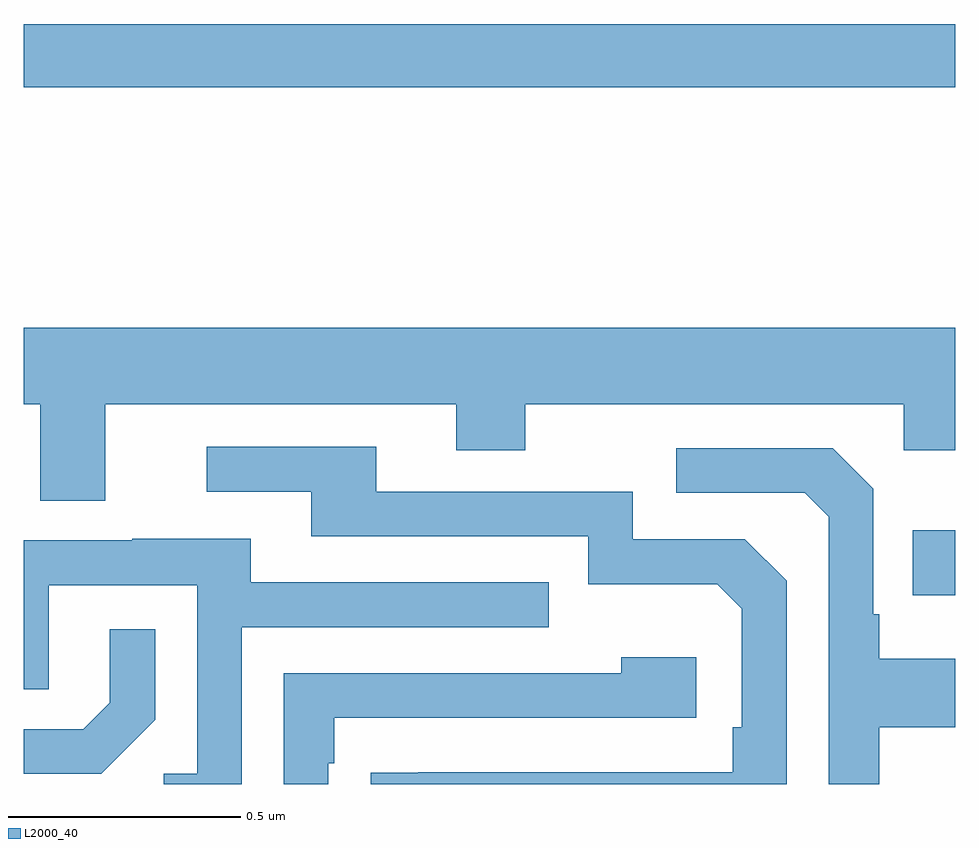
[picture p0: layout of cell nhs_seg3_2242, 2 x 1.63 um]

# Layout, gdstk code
import gdstk
lib = gdstk.Library(unit=1e-6, precision=1e-09)
def R(c, l, rs):  # rectangles x0, y0, x1, y1
    for r in rs: c.add(gdstk.rectangle(r[:2], r[2:], *l))
def P(c, l, *ps):  # polygons
    for p in ps: c.add(gdstk.Polygon(p, *l))
L2000_40 = (2000, 40)

nhs_seg3_2242 = lib.new_cell('nhs_seg3_2242')
R(nhs_seg3_2242, L2000_40, [(139.909,733.805,140,733.945), (138,734.896,140,735.032)])
P(nhs_seg3_2242, L2000_40, [(138.175,734.216),(138.929,734.216),(138.929,734.117),(139.077,734.117),(139.077,734.216),(139.89,734.216),(139.89,734.117),(140,734.117),(140,734.38),(138,734.38),(138,734.216),(138.035,734.216),(138.035,734.008),(138.175,734.008)],
  [(139.638,733.836),(139.548,733.926),(139.308,733.926),(139.308,734.028),(138.757,734.028),(138.757,734.124),(138.393,734.124),(138.393,734.028),(138.617,734.028),(138.617,733.932),(139.212,733.932),(139.212,733.829),(139.489,733.829),(139.542,733.776),(139.542,733.522),(139.522,733.522),(139.522,733.425),(138.847,733.425),(138.847,733.424),(138.745,733.424),(138.745,733.4),(139.638,733.4)],
  [(139.837,733.522),(140,733.522),(140,733.669),(139.837,733.669),(139.837,733.765),(139.824,733.765),(139.824,734.034),(139.737,734.121),(139.401,734.121),(139.401,734.025),(139.677,734.025),(139.728,733.974),(139.728,733.4),(139.837,733.4)],
  [(138.468,733.737),(139.127,733.737),(139.127,733.833),(138.487,733.833),(138.487,733.927),(138.233,733.927),(138.233,733.923),(138,733.923),(138,733.603),(138.054,733.603),(138.054,733.827),(138.372,733.827),(138.372,733.422),(138.3,733.422),(138.3,733.4),(138.468,733.4)],
  [(138.282,733.538),(138.282,733.732),(138.185,733.732),(138.185,733.575),(138.128,733.518),(138,733.518),(138,733.422),(138.166,733.422)],
  [(138.654,733.445),(138.667,733.445),(138.667,733.542),(139.444,733.542),(139.444,733.672),(139.283,733.672),(139.283,733.638),(138.558,733.638),(138.558,733.4),(138.654,733.4)])

lib.write_gds('nhs_seg3_2242.gds')
